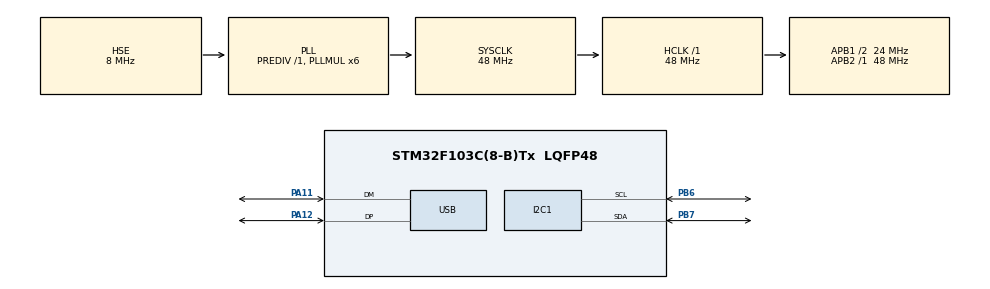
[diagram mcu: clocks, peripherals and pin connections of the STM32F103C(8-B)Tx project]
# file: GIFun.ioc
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Dma.I2C1_TX.0.Direction=DMA_MEMORY_TO_PERIPH
Dma.I2C1_TX.0.Instance=DMA1_Channel6
Dma.I2C1_TX.0.MemDataAlignment=DMA_MDATAALIGN_BYTE
Dma.I2C1_TX.0.MemInc=DMA_MINC_ENABLE
Dma.I2C1_TX.0.Mode=DMA_NORMAL
Dma.I2C1_TX.0.PeriphDataAlignment=DMA_PDATAALIGN_BYTE
Dma.I2C1_TX.0.PeriphInc=DMA_PINC_DISABLE
Dma.I2C1_TX.0.Priority=DMA_PRIORITY_VERY_HIGH
Dma.Request0=I2C1_TX
Mcu.Family=STM32F1
Mcu.Name=STM32F103C(8-B)Tx
Mcu.Package=LQFP48
NVIC.DMA1_Channel6_IRQn=true\:0\:0\:false\:false\:true\:false\:true\:true
NVIC.I2C1_EV_IRQn=true\:0\:0\:false\:false\:true\:true\:true\:true
NVIC.PriorityGroup=NVIC_PRIORITYGROUP_4
NVIC.TIM2_IRQn=true\:0\:0\:false\:false\:true\:true\:true\:true
NVIC.USB_LP_CAN1_RX0_IRQn=true\:0\:0\:false\:false\:true\:false\:true\:true
PA11.Mode=Device
PA11.Signal=USB_DM
PA12.Mode=Device
PA12.Signal=USB_DP
PB6.Mode=I2C
PB6.Signal=I2C1_SCL
PB7.Mode=I2C
PB7.Signal=I2C1_SDA
PD0-OSC_IN.Mode=HSE-External-Oscillator
PD0-OSC_IN.Signal=RCC_OSC_IN
PD1-OSC_OUT.Mode=HSE-External-Oscillator
PD1-OSC_OUT.Signal=RCC_OSC_OUT
ProjectManager.HeapSize=0x200
ProjectManager.StackSize=0x400
ProjectManager.TargetToolchain=STM32CubeIDE
RCC.AHBFreq_Value=48000000
RCC.APB1CLKDivider=RCC_HCLK_DIV2
RCC.APB1Freq_Value=24000000
RCC.APB1TimFreq_Value=48000000
RCC.APB2Freq_Value=48000000
RCC.APB2TimFreq_Value=48000000
RCC.HCLKFreq_Value=48000000
RCC.PLLMUL=RCC_PLL_MUL6
RCC.PLLSourceVirtual=RCC_PLLSOURCE_HSE
RCC.SYSCLKFreq_VALUE=48000000
RCC.SYSCLKSource=RCC_SYSCLKSOURCE_PLLCLK
RCC.USBFreq_Value=48000000
TIM2.Period=10000-1
TIM2.Prescaler=7200-1
USB_DEVICE.CLASS_NAME_FS=CDC
USB_DEVICE.VirtualMode=Cdc
USB_DEVICE.VirtualModeFS=Cdc_FS
VP_TIM2_VS_ClockSourceINT.Mode=Internal
VP_USB_DEVICE_VS_USB_DEVICE_CDC_FS.Mode=CDC_FS
board=custom

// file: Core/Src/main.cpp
/* USER CODE BEGIN Header */
/**
  ******************************************************************************
  * @file           : main.c
  * @brief          : Main program body
  ******************************************************************************
  * @attention
  *
  * Copyright (c) 2024 STMicroelectronics.
  * All rights reserved.
  *
  * This software is licensed under terms that can be found in the LICENSE file
  * in the root directory of this software component.
  * If no LICENSE file comes with this software, it is provided AS-IS.
  *
  ******************************************************************************
  */
/* USER CODE END Header */
#include "main.h"
#include "dma.h"
#include "i2c.h"
#include "tim.h"
#include "usb_device.h"
#include "gpio.h"

/* USER CODE BEGIN Includes */
#include "oled.hpp"
#include "delay.h"
/* USER CODE END Includes */

/* USER CODE BEGIN PV */
bool IsDMAAvailable = true;           // 表示当前DMA是否传输完成的标志依赖于DMA中断更新
uint8_t IsUSBDataReady = 0;

uint8_t CDCReceivedData[1024] = {0};  // 虚拟USB消息接受缓存
uint32_t CDCReceivedDataLength = 0;   // 虚拟USB消息长度

/* USER CODE END PV */

void SystemClock_Config(void);

/* USER CODE BEGIN 0 */
void HAL_I2C_MemTxCpltCallback(I2C_HandleTypeDef *hi2c){
	if(hi2c == &hi2c1){
		IsDMAAvailable = true;
	}
}

void keepUSBVisable(){
	GPIO_InitTypeDef GPIO_InitStruct = {0};
	/* GPIO Ports Clock Enable */
    __HAL_RCC_GPIOA_CLK_ENABLE();
	/*Configure GPIO pin Output Level */
	HAL_GPIO_WritePin(GPIOA, GPIO_PIN_12, GPIO_PIN_RESET);
	/*Configure GPIO pin : PA12 */
	GPIO_InitStruct.Pin = GPIO_PIN_12;
	GPIO_InitStruct.Mode = GPIO_MODE_OUTPUT_PP;
	GPIO_InitStruct.Pull = GPIO_PULLDOWN;
	GPIO_InitStruct.Speed = GPIO_SPEED_FREQ_LOW;
	HAL_GPIO_Init(GPIOA, &GPIO_InitStruct);

	HAL_GPIO_WritePin(GPIOA, GPIO_PIN_12, GPIO_PIN_RESET);
	HAL_Delay(65);
	//先把PA12拉低再拉高，利用D+模拟USB的拔插动作
	HAL_GPIO_WritePin(GPIOA, GPIO_PIN_12, GPIO_PIN_SET);
	HAL_Delay(65);
}
/* USER CODE END 0 */

int main(void)
{

  /* MCU Configuration--------------------------------------------------------*/

  /* Reset of all peripherals, Initializes the Flash interface and the Systick. */
  HAL_Init();

  /* USER CODE BEGIN Init */
  keepUSBVisable();
  /* USER CODE END Init */

  /* Configure the system clock */
  SystemClock_Config();

  /* Initialize all configured peripherals */
  MX_GPIO_Init();
  MX_DMA_Init();
  MX_I2C1_Init();
  MX_TIM2_Init();
  MX_USB_DEVICE_Init();
  /* USER CODE BEGIN 2 */
  initDelay();
  SSD1315 OLED(PAGE_MODE);
  OLED.USBSignalMode(true);
  OLED.SwitchAdrMode(HORIZENTAL_MODE);
  /* USER CODE END 2 */

  /* Infinite loop */
  /* USER CODE BEGIN WHILE */
  while (1)
  {
	OLED.ShowFrame();
    /* USER CODE END WHILE */

  }
}

void SystemClock_Config(void)
{
  RCC_OscInitTypeDef RCC_OscInitStruct = {0};
  RCC_ClkInitTypeDef RCC_ClkInitStruct = {0};
  RCC_PeriphCLKInitTypeDef PeriphClkInit = {0};

  /** Initializes the RCC Oscillators according to the specified parameters
  * in the RCC_OscInitTypeDef structure.
  */
  RCC_OscInitStruct.OscillatorType = RCC_OSCILLATORTYPE_HSE;
  RCC_OscInitStruct.HSEState = RCC_HSE_ON;
  RCC_OscInitStruct.HSEPredivValue = RCC_HSE_PREDIV_DIV1;
  RCC_OscInitStruct.HSIState = RCC_HSI_ON;
  RCC_OscInitStruct.PLL.PLLState = RCC_PLL_ON;
  RCC_OscInitStruct.PLL.PLLSource = RCC_PLLSOURCE_HSE;
  RCC_OscInitStruct.PLL.PLLMUL = RCC_PLL_MUL6;
  if (HAL_RCC_OscConfig(&RCC_OscInitStruct) != HAL_OK)
  {
    Error_Handler();
  }

  /** Initializes the CPU, AHB and APB buses clocks
  */
  RCC_ClkInitStruct.ClockType = RCC_CLOCKTYPE_HCLK|RCC_CLOCKTYPE_SYSCLK
                              |RCC_CLOCKTYPE_PCLK1|RCC_CLOCKTYPE_PCLK2;
  RCC_ClkInitStruct.SYSCLKSource = RCC_SYSCLKSOURCE_PLLCLK;
  RCC_ClkInitStruct.AHBCLKDivider = RCC_SYSCLK_DIV1;
  RCC_ClkInitStruct.APB1CLKDivider = RCC_HCLK_DIV2;
  RCC_ClkInitStruct.APB2CLKDivider = RCC_HCLK_DIV1;

  if (HAL_RCC_ClockConfig(&RCC_ClkInitStruct, FLASH_LATENCY_1) != HAL_OK)
  {
    Error_Handler();
  }
  PeriphClkInit.PeriphClockSelection = RCC_PERIPHCLK_USB;
  PeriphClkInit.UsbClockSelection = RCC_USBCLKSOURCE_PLL;
  if (HAL_RCCEx_PeriphCLKConfig(&PeriphClkInit) != HAL_OK)
  {
    Error_Handler();
  }
}

void Error_Handler(void)
{
  __disable_irq();
  while (1)
  {
  }
}
